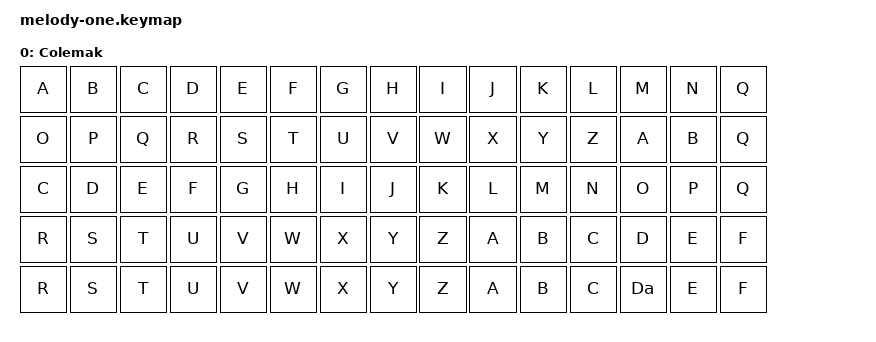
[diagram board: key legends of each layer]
#include <behaviors.dtsi>
#include <dt-bindings/zmk/bt.h>
#include <dt-bindings/zmk/keys.h>

#define CONFIG_WIRELESS 1

/ {
    keymap {
        compatible = "zmk,keymap";

        Colemak {
            bindings = <
            &kp A &kp B &kp C &kp D &kp E &kp F &kp G &kp H &kp I &kp J &kp K &kp L &kp M &kp N &kp Q
            &kp O &kp P &kp Q &kp R &kp S &kp T &kp U &kp V &kp W &kp X &kp Y &kp Z &kp A &kp B &kp Q
            &kp C &kp D &kp E &kp F &kp G &kp H &kp I &kp J &kp K &kp L &kp M &kp N &kp O &kp P &kp Q
            &kp R &kp S &kp T &kp U &kp V &kp W &kp X &kp Y &kp Z &kp A &kp B &kp C &kp D &kp E &kp F
            &kp R &kp S &kp T &kp U &kp V &kp W &kp X &kp Y &kp Z &kp A &kp B &kp C &kp Da &kp E &kp F
            >;
        };
    };
};
